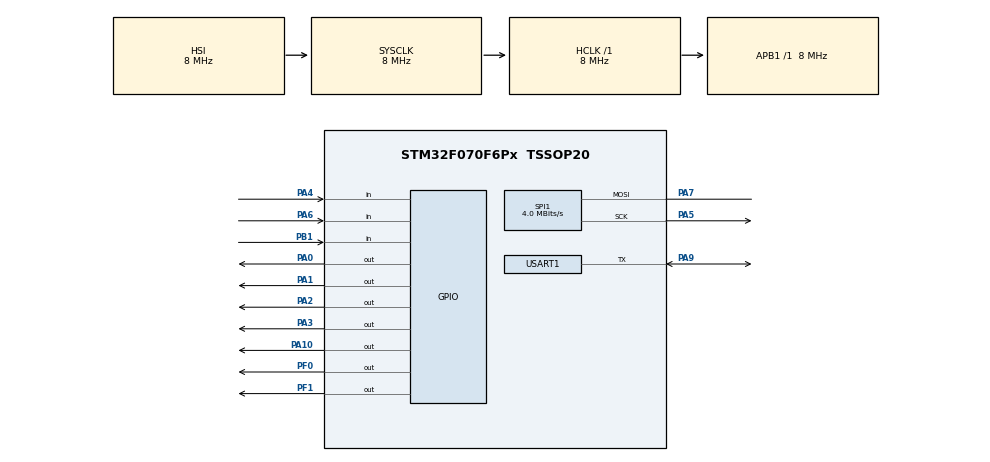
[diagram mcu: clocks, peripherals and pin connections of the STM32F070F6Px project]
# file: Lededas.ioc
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Mcu.Family=STM32F0
Mcu.Name=STM32F070F6Px
Mcu.Package=TSSOP20
PA0.Signal=GPIO_Output
PA1.Signal=GPIO_Output
PA10.Signal=GPIO_Output
PA13.Mode=Serial_Wire
PA13.Signal=SYS_SWDIO
PA14.Mode=Serial_Wire
PA14.Signal=SYS_SWCLK
PA2.Signal=GPIO_Output
PA3.Signal=GPIO_Output
PA4.GPIO_PuPd=GPIO_PULLDOWN
PA4.Signal=GPIO_Input
PA5.Mode=Simplex_Bidirectional_Master
PA5.Signal=SPI1_SCK
PA6.GPIO_PuPd=GPIO_PULLDOWN
PA6.Signal=GPIO_Input
PA7.Mode=Simplex_Bidirectional_Master
PA7.Signal=SPI1_MOSI
PA9.Mode=Half_duplex(single_wire_mode)
PA9.Signal=USART1_TX
PB1.GPIO_PuPd=GPIO_PULLDOWN
PB1.Signal=GPIO_Input
PF0-OSC_IN.Signal=GPIO_Output
PF1-OSC_OUT.Signal=GPIO_Output
ProjectManager.HeapSize=0x200
ProjectManager.StackSize=0x400
ProjectManager.TargetToolchain=STM32CubeIDE
RCC.AHBFreq_Value=8000000
RCC.APB1Freq_Value=8000000
RCC.APB1TimFreq_Value=8000000
RCC.HCLKFreq_Value=8000000
RCC.SYSCLKFreq_VALUE=8000000
SPI1.CLKPhase=SPI_PHASE_2EDGE
SPI1.CLKPolarity=SPI_POLARITY_HIGH
SPI1.CalculateBaudRate=4.0 MBits/s
SPI1.DataSize=SPI_DATASIZE_8BIT
SPI1.Direction=SPI_DIRECTION_1LINE
SPI1.Mode=SPI_MODE_MASTER
SPI1.VirtualType=VM_MASTER
USART1.BaudRate=9600
USART1.VirtualMode=VM_ASYNC
board=custom

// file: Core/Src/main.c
/* USER CODE BEGIN Header */
/**
  ******************************************************************************
  * @file           : main.c
  * @brief          : Main program body
  ******************************************************************************
  * @attention
  *
  * Copyright (c) 2022 STMicroelectronics.
  * All rights reserved.
  *
  * This software is licensed under terms that can be found in the LICENSE file
  * in the root directory of this software component.
  * If no LICENSE file comes with this software, it is provided AS-IS.
  *
  ******************************************************************************
  */
/* USER CODE END Header */
#include "main.h"

/* USER CODE BEGIN Includes */

	#include "OledGrph.h"
	#include "OledDriver.h"
	#include "stdlib.h"
	#include "math.h"

/* USER CODE END Includes */

SPI_HandleTypeDef hspi1;

UART_HandleTypeDef huart1;

void SystemClock_Config(void);
static void MX_GPIO_Init(void);
static void MX_SPI1_Init(void);
static void MX_USART1_UART_Init(void);

/* USER CODE BEGIN 0 */

#include <stdio.h>
#include <math.h>
#include <string.h>

// Função para apagar o último caractere de uma string
void apagar(char *str){
    int tam = strlen(str);
    str[tam-1] = '\0';
}

// Função que corrige floats em que há 0s entre o ponto e o primeiro dígito diferente de 0
void corretor(char *str, int len, int dig){

    char correto[16];
    strcpy(correto, str);
    correto[dig+1] = '\0';
    char aux[16];
    int numero = len-dig-1;

    for(int i = 0; i < numero; i++){
        aux[i] = str[dig+1+i];
    }
    aux[numero]= '\0';

    int zeros = 5 - strlen(aux);
    for(int i = 0; i < zeros; i++)
        correto[dig+1+i] = '0';

    correto[dig+1+zeros] = '\0';
    strcat(correto, aux);
    strcpy(str, correto);
}

// Função para descobrir a quantidade de dígitos presentes em um número inteiro
int contDigitos(int num){
	int digitos = 1;
	while(num/10 != 0){
		num /= 10;
		digitos++;
	}

	return digitos;
}

// Função que formata uma string para números negativos
void negative(char *str, int len){
    int i = 0;
    char strcp[16];
    strcp[0] = '-';

    for(int i = 0; i < len+1; i++){
        strcp[i+1] = str[i];
    }
    strcpy(str, strcp);
}

// Função que reverte uma string (a faz de trás para frente)
void reverse(char *str, int len)
{
	int i=0, j=len-1, temp;
	while (i<j)
	{
    	temp = str[i];
    	str[i] = str[j];
    	str[j] = temp;
    	i++; j--;
	}
}

 // Converts a given integer x to string str[].  d is the number
 // of digits required in output. If d is more than the number
 // of digits in x, then 0s are added at the beginning.

// Função que converte inteiro em string
int intToStr(int x, char str[], int d)
{
	int i = 0;
	while (x)
	{
		str[i++] = (x%10) + '0';
    	x = x/10;
	}

	reverse(str, i);
	str[i] = '\0';
	//corretor(str, strlen(str));
	return i;
}

double n1;
int dig;

// Função que converte float em string
void ftoa(double n, char *res)
{
	if(n < 0)
		n1 = n*(-1.0);
	else
		n1 = n;
	// Extract integer part
	int ipart = (int)n1;

	// Extract floating part
	double fpart = n1 - (double)ipart;

	// convert integer part to string
	int i = intToStr(ipart, res,0);

	// check for display option after point
	//if (afterpoint != 0)
	//{
	if(ipart != 0){
		if(fpart != 0)
			res[i] = '.';

		fpart = fpart * 100000.0;
		dig = contDigitos(ipart);

		intToStr((int)fpart, res + i + 1, 2);
		if((int)fpart < 10000 && (int)fpart != 0)
			corretor(res, strlen(res), dig);

        if(n < 0)
            negative(res, dig+6);
	} else{
		res[0] = '0';

		if(fpart != 0){
			res[1] = '.';
			i++;
		}

		fpart = fpart * 100000.0 ;
		dig = contDigitos(ipart);

		intToStr((int)fpart, res + i + 1, 2);
		if((int)fpart < 10000 && (int)fpart != 0)
			corretor(res, strlen(res), dig);

        if(n < 0)
            negative(res, dig+6);
	}
	//}

}

/* IN�?CIO Operações da calculadora
 * -Adição-
 * -Subtração-
 * -Multiplicação-
 * -Divisão-
 * -Potenciação-
 * -Radiciação-
 * -Fatorial-
 * -Logaritmo-
 * -Exponencial-
 * */

double soma(double a, double b){
	double res = a + b;
	return res;
}

double sub(double a, double b){
	double res = a - b;
	return res;
}

double mult(double a, double b){
	double res = a * b;
	return res;
}

double divi(double a, double b){
	float res = a / b;
	return res;
}

double pot(double a, double b){
	double res = pow(a,b);
	return res;
}

double raiz(double a, double b){
	float res = pow(a,1/b);
	return res;
}

int fat(int a){
	if(a == 0)
		return 1;
	else{
		return a*fat(a-1);
	}
}

double logarit(double a){
	float res = log(a);
	return res;
}

double expon(double a){
	float res = exp(a);
	return res;
}

/*
 * FIM Operações da calculadora
 * */

// Função responsável por concatenar os valores inteiros digitados no teclado matricial
int conc(int vet[], int k){
	double res = 0;
	int i = 0;
	while(k!=0){
		res += vet[i]*pow(10,k-1);
		k--;
		i++;
	}
	return res;
}

/* USER CODE END 0 */

int main(void)
{
  /* USER CODE BEGIN 1 */

	  char pressionado = 'a';	// Char que armazena o caractere digitado no teclado matricial
	  char pressOp;				// Char que armazena o caractere operador
	  int vet[16];				// Vetor de inteiros que armazena os valores das teclas digitadas no teclado matricial
	  int k = 0;				// Variável de controle na conversão de vetor de inteiro para vetor de char
	  char txt[16];				// String (vetor de char) que aparece no Oled
	  char linha[4] = "\r\n"; 	// String auxiliar para formatar no computador
	  char *txt2 = &txt;		// Ponteiro que aponta para o endereço da string que aparece no oled
	  char operUart[30];		// String para o histórico (aparece na UART)
	  char valUart[16];			// String para auxiliar operUart, gravando o valor2
	  double valor = 0;			// Primeiro valor digitado (antes da escolha da operação)
	  double valor2 = 0;		// Segundo valor digitado (depois da escolha da operação)
	  int operacao;				// Variável para definir a operação no switch case
	  double op;				// variável que armazena o resultado da operação entre os valores 1 e 2
	  int animacao=0;			// Variável relacionada a aniamações de iniciar, reiniciar e desligar
	  int cont1 = 0; 			// Tirar o 0 padrão de inicialização
	  int cont; 				// Separa as etapas: colocar número ou colocar operação
	  int format=0; 			// Impedir que se coloque um segundo valor após as operações ! log e

  /* USER CODE END 1 */

  /* MCU Configuration--------------------------------------------------------*/

  /* Reset of all peripherals, Initializes the Flash interface and the Systick. */
  HAL_Init();

  /* Configure the system clock */
  SystemClock_Config();

  /* Initialize all configured peripherals */
  MX_GPIO_Init();
  MX_SPI1_Init();
  MX_USART1_UART_Init();
  /* USER CODE BEGIN 2 */

  OledInit(); // Inicializa o oLed
  OledClear(); //- Apaga todos os dados  do oLed
  OledSetCursor(0,0); //Coloca o cursor na posição desejada da tela. Cada caractere ocupa uma coluna.
  //HAL_UART_Transmit(&huart1, "Historico\r", 10, 100);
  //OledPutString("comp"); //Escreve uma string na tela.
  //OledPutChar('?'); //Escreve um char na tela.

  /* USER CODE END 2 */

  /* Infinite loop */
  /* USER CODE BEGIN WHILE */

  while (1)
  {
  	OledPutChar('0');
    cont=0;
	  while(cont < 100){
		  inicio:

		  // Quando cont for par, o usuário entra com os dígitos do número desejado.
		  if(cont%2==0){
			  for (int i = 0; i < 4; i++) {

				  	  	  	  // Linhas do teclado matricial - Inicialmente, todas resetadas
			  		          HAL_GPIO_WritePin(GPIOF, GPIO_PIN_0, GPIO_PIN_RESET);
			  		          HAL_GPIO_WritePin(GPIOF, GPIO_PIN_1, GPIO_PIN_RESET);
			  		          HAL_GPIO_WritePin(GPIOA, GPIO_PIN_10, GPIO_PIN_RESET);
			  		          HAL_GPIO_WritePin(GPIOA, GPIO_PIN_3, GPIO_PIN_RESET);

			  		          // Aqui, fica setando em 1 cada uma das 4 linhas, enquanto as outras 3 permanecem resetadas
			  		          // Lembrar que o while acontece extremamente rápido!
			  		          if (i == 0) {
			  		            HAL_GPIO_WritePin(GPIOF, GPIO_PIN_0, GPIO_PIN_SET);
			  		          } else if (i == 1) {
			  		            HAL_GPIO_WritePin(GPIOF, GPIO_PIN_1, GPIO_PIN_SET);
			  		          } else if (i == 2) {
			  		            HAL_GPIO_WritePin(GPIOA, GPIO_PIN_10, GPIO_PIN_SET);
			  		          } else if (i == 3) {
			  		            HAL_GPIO_WritePin(GPIOA, GPIO_PIN_3, GPIO_PIN_SET);
			  		          }

			  		          /*
			  		           * Essa parte do código reconhece quando uma tecla é pressionada,
			  		           * pois o curto fará com que o pino da porta da coluna seja setado
			  		           * em 1. Lembrar que o pull-down faz esse pino ser 0 quando não pressionado.
			  		           * Os comandos que ocorrem quando uma tecla é pressionada também estão aqui*/
			  		          if (HAL_GPIO_ReadPin(GPIOA, GPIO_PIN_4) == 1) {

			  		            if (i == 0) {
			  		              if(cont1 == 0 && cont != 2){
			  		            	  OledClear();
			  		            	  OledSetCursor(0,0);
			  		            	  cont1++;
			  		              }
			  		              pressionado = '1';
			  		              HAL_Delay(350);
			  		              if(format != 1){
			  		            	  OledPutChar(pressionado);
			  		            	  vet[k]=1;
			  		            	  k++;
			  		              }
			  		            } else if (i == 1) {
				  		          if(cont1 == 0 && cont != 2){
				  		        	  OledClear();
				  		           	  OledSetCursor(0,0);
				  		           	  cont1++;
				  		          }
			  		              pressionado = '4';
			  		              HAL_Delay(350);
			  		              if(format != 1){
			  		            	  OledPutChar(pressionado);
			  		            	  vet[k]=4;
			  		            	  k++;
			  		              }
			  		            } else if (i == 2) {
				  		          if(cont1 == 0 && cont != 2){
				  		              OledClear();
				  		              OledSetCursor(0,0);
				  		              cont1++;
				  		          }
			  		              pressionado = '7';
			  		              HAL_Delay(350);
			  		              if(format != 1){
			  		            	OledPutChar(pressionado);
			  		              	  vet[k]=7;
			  		              	  k++;
			  		              }
			  		            } else if (i == 3) { //* para igualdade ( = )
			  		              HAL_Delay(350);
			  		              if(cont == 2){
									  OledClear();
									  OledSetCursor(0,0);
									  format = 0;
									  valor2 = conc(vet, k);
									  intToStr(valor2, valUart, k);
									  switch(operacao){
										  case 1:
											  op = soma(valor, valor2);
											  break;
										  case 2:
											  op = sub(valor, valor2);
											  break;
										  case 3:
											  op = mult(valor, valor2);
											  break;
										  case 4:
											  if(valor2 == 0){
												  OledPutString("Error");
												  HAL_Delay(3000);
												  OledClear();
												  OledSetCursor(0,0);
												  cont1 = 0;
												  OledPutChar('0');
												  cont = 0;
												  goto inicio;
											  }

											  op = divi(valor, valor2);
											  break;
										  case 5:
											  op = pot(valor, valor2);
											  break;
										  case 6:
											  if(valor < 0){
												  OledPutString("Error");
												  HAL_Delay(3000);
												  OledClear();
												  OledSetCursor(0,0);
												  cont1 = 0;
												  OledPutChar('0');
												  cont = 0;
												  goto inicio;
											  }

											  op = raiz(valor, valor2);
											  break;
										  case 7:
											  if(valor < 0){
												  OledPutString("Error");
												  HAL_Delay(3000);
												  OledClear();
												  OledSetCursor(0,0);
												  cont1 = 0;
												  OledPutChar('0');
												  cont = 0;
												  goto inicio;
											  }
											  if(valor != (int)valor){
												  OledPutString("Indefinido");
												  HAL_Delay(3000);
												  OledClear();
												  OledSetCursor(0,0);
												  cont1 = 0;
												  OledPutChar('0');
												  cont = 0;
												  goto inicio;
											  }
											  op = fat(valor);
											  break;
										  case 8:
											  if(valor <= 0){
												  OledPutString("Error");
												  HAL_Delay(3000);
												  OledClear();
												  OledSetCursor(0,0);
												  cont1 = 0;
												  OledPutChar('0');
												  cont = 0;
												  goto inicio;
											  }
											  op = logarit(valor);
											  break;
										  case 9:
											  op = expon(valor);
											  break;
									  }
									  ftoa(op, txt2);
									  OledPutString(txt);
									  cont = 1;
									  // INICIO - Formatação para o histórico
									  k = strlen(operUart); // reaproveitamento da variável k
									  operUart[k] = pressOp;
									  operUart[k+1] = '\0';
									  strcat(operUart, valUart);
									  k = strlen(operUart); // reaproveitamento da variável k
									  operUart[k] = '=';
									  operUart[k+1] = '\0';
									  k = 0;
									  strcat(operUart, txt);
									  HAL_UART_Transmit(&huart1, strcat(operUart, linha), strlen(strcat(operUart, linha)), 100);
									  valor = op;
									  ftoa(valor, operUart);
									  // FIM - Formatação para o histórico
									  goto inicio;
			  		              } else{
			  		            	  // * Código para apagar o último caractere
			  		            	  OledClear();
			  		            	  OledSetCursor(0,0);
			  		            	  if(k==0){
			  		            		  OledPutChar('0');
			  		            		  cont1 = 0;
			  		            	  }
			  		            	  else{
				  		            	  valor = conc(vet, k);
				  		            	  k--;
				  		            	  if(k==0){
				  		            		  OledPutChar('0');
				  		            		  cont1 = 0;
				  		            	  }
				  		            	  ftoa(valor, txt2);
				  		            	  apagar(txt2);
				  		            	  OledPutString(txt2);
			  		            	  }
			  		              }
			  		            }
			  		          }else if (HAL_GPIO_ReadPin(GPIOB, GPIO_PIN_1) == 1) {
			  		            if (i == 0) {
					  		      if(cont1 == 0 && cont != 2){
					  		          OledClear();
					  	              OledSetCursor(0,0);
					  	              cont1++;
					  	          }
			  		              pressionado = '2';
			  		              HAL_Delay(350);
			  		              if(format != 1){
			  		            	  OledPutChar(pressionado);
			  		              	  vet[k]=2;
			  		              	  k++;
			  		              }
			  		            } else if (i == 1) {
					  		      if(cont1 == 0 && cont != 2){
					  		          OledClear();
					  	              OledSetCursor(0,0);
					  	              cont1++;
					              }
			  		              pressionado = '5';
			  		              HAL_Delay(350);
			  		              if(format != 1){
			  		            	  OledPutChar(pressionado);
			  		              	  vet[k]=5;
			  		              	  k++;
			  		              }
			  		            } else if (i == 2) {
					  		      if(cont1 == 0 && cont != 2){
					  		          OledClear();
					  	              OledSetCursor(0,0);
					  	              cont1++;
					  	          }
			  		              pressionado = '8';
			  		              HAL_Delay(350);
			  		              if(format != 1){
			  		            	  OledPutChar(pressionado);
			  		              	  vet[k]=8;
			  		              	  k++;
			  		              }
			  		            } else if (i == 3) {
			  		              pressionado = '0';
			  		              HAL_Delay(350);
			  		              if(k != 0 || cont == 2){
									  if(format != 1){
										  OledPutChar(pressionado);
									  	  vet[k]=0;
									  	  k++;
									  }
			  		              }
			  		            }

			  		          }else if (HAL_GPIO_ReadPin(GPIOA, GPIO_PIN_6) == 1) {
			  		            if (i == 0) {
					  		      if(cont1 == 0 && cont != 2){
					  		          OledClear();
					  	              OledSetCursor(0,0);
					  	              cont1++;
					              }
			  		              pressionado = '3';
			  		              HAL_Delay(350);
			  		              if(format != 1){
			  		            	  OledPutChar(pressionado);
			  		              	  vet[k]=3;
			  		              	  k++;
			  		              }
			  		            } else if (i == 1) {
					  		      if(cont1 == 0 && cont != 2){
					  		          OledClear();
					  	              OledSetCursor(0,0);
					  	              cont1++;
					              }
			  		              pressionado = '6';
			  		              HAL_Delay(350);
			  		              if(format != 1){
			  		            	  OledPutChar(pressionado);
			  		              	  vet[k]=6;
			  		              	  k++;
			  		              }
			  		            } else if (i == 2) {
					  		      if(cont1 == 0 && cont != 2){
					  		          OledClear();
					  	              OledSetCursor(0,0);
					  	              cont1++;
					  	          }
			  		              pressionado = '9';
			  		              HAL_Delay(350);
			  		              if(format != 1){
			  		            	  OledPutChar(pressionado);
			  		              	  vet[k]=9;
			  		              	  k++;
			  		              }
			  		            } else if (i == 3) {	// #
			  		              HAL_Delay(350);
			  		              // Escolher operador
			  		              if(cont == 0){
				  		              valor = conc(vet, k);
					  		          intToStr(valor, operUart, k);
				  		              k = 0;
				  		              cont++;
			  		              }
			  		              // Apagar último caractere
			  		              else{
			  		            	  OledClear();
			  		            	  OledSetCursor(0,0);
			  		            	  ftoa(valor, txt2);
			  		            	  OledPutString(txt);
			  		            	  OledPutChar(pressOp);
			  		            	  if(k!=0){
										  valor2 = conc(vet, k);
										  k--;
										  ftoa(valor2, txt2);
										  apagar(txt2);
										  OledPutString(txt2);
			  		            	  }
			  		              }
			  		            }
			  		          }

			  		        }
		  }
		  // ABA OPERAÇÕES - Quando cont for ímpar, significa que o usuário escolhe a operação.
		  else if(cont%2!=0){
			  for (int i = 0; i < 4; i++) {

			  			  		          HAL_GPIO_WritePin(GPIOF, GPIO_PIN_0, GPIO_PIN_RESET);
			  			  		          HAL_GPIO_WritePin(GPIOF, GPIO_PIN_1, GPIO_PIN_RESET);
			  			  		          HAL_GPIO_WritePin(GPIOA, GPIO_PIN_10, GPIO_PIN_RESET);
			  			  		          HAL_GPIO_WritePin(GPIOA, GPIO_PIN_3, GPIO_PIN_RESET);

			  			  		          if (i == 0) {
			  			  		            HAL_GPIO_WritePin(GPIOF, GPIO_PIN_0, GPIO_PIN_SET);
			  			  		          } else if (i == 1) {
			  			  		            HAL_GPIO_WritePin(GPIOF, GPIO_PIN_1, GPIO_PIN_SET);
			  			  		          } else if (i == 2) {
			  			  		            HAL_GPIO_WritePin(GPIOA, GPIO_PIN_10, GPIO_PIN_SET);
			  			  		          } else if (i == 3) {
			  			  		            HAL_GPIO_WritePin(GPIOA, GPIO_PIN_3, GPIO_PIN_SET);
			  			  		          }

			  			  		          if (HAL_GPIO_ReadPin(GPIOA, GPIO_PIN_4) == 1) {

			  			  		            if (i == 0) {
			  			  		              pressOp = '+';
			  			  		              HAL_Delay(350);
			  			  		              OledPutChar(pressOp);
			  			  		              operacao = 1;
			  			  		              cont++;
			  			  		            } else if (i == 1) {
			  			  		              pressOp = '/';
			  			  		              HAL_Delay(350);
			  			  		              OledPutChar(pressOp);
			  			  		              operacao = 4;
			  			  		              cont++;
			  			  		            } else if (i == 2) {
			  			  		              pressOp = '!';
			  			  		              format = 1;
			  			  		              HAL_Delay(350);
			  			  		              OledPutChar(pressOp);
			  			  		              operacao = 7;
			  			  		              cont++;
			  			  		            } else if (i == 3) {	// *
			  			  		            	//Não faz nada
			  			  		            }
			  			  		          }else if (HAL_GPIO_ReadPin(GPIOB, GPIO_PIN_1) == 1) {
			  			  		            if (i == 0) {
			  			  		              pressOp = '-';
			  			  		              HAL_Delay(350);
			  			  		              OledPutChar(pressOp);
			  			  		              operacao = 2;
			  			  		              cont++;
			  			  		            } else if (i == 1) {
			  			  		              pressOp = '^';
			  			  		              HAL_Delay(350);
			  			  		              OledPutChar(pressOp);
			  			  		              operacao = 5;
			  			  		              cont++;
			  			  		            } else if (i == 2) {
			  			  		              pressOp = 'L';
			  			  		              format = 1;
			  			  		              //OledPutString("ln");
			  			  		              HAL_Delay(350);
			  			  		              OledPutChar(pressOp);
			  			  		              operacao = 8;
			  			  		              cont++;
			  			  		            } else if (i == 3) {
			  			  		              //0 de reiniciar
			  			  		              HAL_Delay(350);
			  			  		              OledClear();
			  			  		              OledSetCursor(0,0);
			  			  		              OledPutChar('0');
			  			  		              cont1 = 0;
			  			  		              cont++;
			  			  		              cont = 0;
			  			  		              goto inicio;
			  			  		            }

			  			  		          }else if (HAL_GPIO_ReadPin(GPIOA, GPIO_PIN_6) == 1) {
			  			  		            if (i == 0) {
			  			  		              pressOp = '*';
			  			  		              HAL_Delay(350);
			  			  		              operacao = 3;
			  			  		              OledPutChar(pressOp);
			  			  		              cont++;
			  			  		            } else if (i == 1) {
			  			  		              pressOp = 'v';
			  			  		              HAL_Delay(350);
			  			  		              operacao = 6;
			  			  		              OledPutChar(pressOp);
			  			  		              cont++;
			  			  		            } else if (i == 2) {
			  			  		              pressOp = 'e';
			  			  		              format = 1;
			  			  		              HAL_Delay(350);
			  			  		              operacao = 9;
			  			  		              OledPutChar(pressOp);
			  			  		              cont++;
			  			  		            }
			  			  		          }
			  			  		        }
		  }

	  }
    /* USER CODE END WHILE */

  }
}

void SystemClock_Config(void)
{
  RCC_OscInitTypeDef RCC_OscInitStruct = {0};
  RCC_ClkInitTypeDef RCC_ClkInitStruct = {0};
  RCC_PeriphCLKInitTypeDef PeriphClkInit = {0};

  /** Initializes the RCC Oscillators according to the specified parameters
  * in the RCC_OscInitTypeDef structure.
  */
  RCC_OscInitStruct.OscillatorType = RCC_OSCILLATORTYPE_HSI;
  RCC_OscInitStruct.HSIState = RCC_HSI_ON;
  RCC_OscInitStruct.HSICalibrationValue = RCC_HSICALIBRATION_DEFAULT;
  RCC_OscInitStruct.PLL.PLLState = RCC_PLL_NONE;
  if (HAL_RCC_OscConfig(&RCC_OscInitStruct) != HAL_OK)
  {
    Error_Handler();
  }

  /** Initializes the CPU, AHB and APB buses clocks
  */
  RCC_ClkInitStruct.ClockType = RCC_CLOCKTYPE_HCLK|RCC_CLOCKTYPE_SYSCLK
                              |RCC_CLOCKTYPE_PCLK1;
  RCC_ClkInitStruct.SYSCLKSource = RCC_SYSCLKSOURCE_HSI;
  RCC_ClkInitStruct.AHBCLKDivider = RCC_SYSCLK_DIV1;
  RCC_ClkInitStruct.APB1CLKDivider = RCC_HCLK_DIV1;

  if (HAL_RCC_ClockConfig(&RCC_ClkInitStruct, FLASH_LATENCY_0) != HAL_OK)
  {
    Error_Handler();
  }
  PeriphClkInit.PeriphClockSelection = RCC_PERIPHCLK_USART1;
  PeriphClkInit.Usart1ClockSelection = RCC_USART1CLKSOURCE_PCLK1;
  if (HAL_RCCEx_PeriphCLKConfig(&PeriphClkInit) != HAL_OK)
  {
    Error_Handler();
  }
}

static void MX_SPI1_Init(void)
{

  /* SPI1 parameter configuration*/
  hspi1.Instance = SPI1;
  hspi1.Init.Mode = SPI_MODE_MASTER;
  hspi1.Init.Direction = SPI_DIRECTION_1LINE;
  hspi1.Init.DataSize = SPI_DATASIZE_8BIT;
  hspi1.Init.CLKPolarity = SPI_POLARITY_HIGH;
  hspi1.Init.CLKPhase = SPI_PHASE_2EDGE;
  hspi1.Init.NSS = SPI_NSS_SOFT;
  hspi1.Init.BaudRatePrescaler = SPI_BAUDRATEPRESCALER_2;
  hspi1.Init.FirstBit = SPI_FIRSTBIT_MSB;
  hspi1.Init.TIMode = SPI_TIMODE_DISABLE;
  hspi1.Init.CRCCalculation = SPI_CRCCALCULATION_DISABLE;
  hspi1.Init.CRCPolynomial = 7;
  hspi1.Init.CRCLength = SPI_CRC_LENGTH_DATASIZE;
  hspi1.Init.NSSPMode = SPI_NSS_PULSE_DISABLE;
  if (HAL_SPI_Init(&hspi1) != HAL_OK)
  {
    Error_Handler();
  }

}

static void MX_USART1_UART_Init(void)
{

  huart1.Instance = USART1;
  huart1.Init.BaudRate = 9600;
  huart1.Init.WordLength = UART_WORDLENGTH_8B;
  huart1.Init.StopBits = UART_STOPBITS_1;
  huart1.Init.Parity = UART_PARITY_NONE;
  huart1.Init.Mode = UART_MODE_TX_RX;
  huart1.Init.HwFlowCtl = UART_HWCONTROL_NONE;
  huart1.Init.OverSampling = UART_OVERSAMPLING_16;
  huart1.Init.OneBitSampling = UART_ONE_BIT_SAMPLE_DISABLE;
  huart1.AdvancedInit.AdvFeatureInit = UART_ADVFEATURE_NO_INIT;
  if (HAL_HalfDuplex_Init(&huart1) != HAL_OK)
  {
    Error_Handler();
  }

}

static void MX_GPIO_Init(void)
{
  GPIO_InitTypeDef GPIO_InitStruct = {0};

  /* GPIO Ports Clock Enable */
  __HAL_RCC_GPIOF_CLK_ENABLE();
  __HAL_RCC_GPIOA_CLK_ENABLE();
  __HAL_RCC_GPIOB_CLK_ENABLE();

  /*Configure GPIO pin Output Level */
  HAL_GPIO_WritePin(GPIOF, GPIO_PIN_0|GPIO_PIN_1, GPIO_PIN_RESET);

  /*Configure GPIO pin Output Level */
  HAL_GPIO_WritePin(GPIOA, GPIO_PIN_0|GPIO_PIN_1|GPIO_PIN_2|GPIO_PIN_3
                          |GPIO_PIN_10, GPIO_PIN_RESET);

  /*Configure GPIO pins : PF0 PF1 */
  GPIO_InitStruct.Pin = GPIO_PIN_0|GPIO_PIN_1;
  GPIO_InitStruct.Mode = GPIO_MODE_OUTPUT_PP;
  GPIO_InitStruct.Pull = GPIO_NOPULL;
  GPIO_InitStruct.Speed = GPIO_SPEED_FREQ_LOW;
  HAL_GPIO_Init(GPIOF, &GPIO_InitStruct);

  /*Configure GPIO pins : PA0 PA1 PA2 PA3
                           PA10 */
  GPIO_InitStruct.Pin = GPIO_PIN_0|GPIO_PIN_1|GPIO_PIN_2|GPIO_PIN_3
                          |GPIO_PIN_10;
  GPIO_InitStruct.Mode = GPIO_MODE_OUTPUT_PP;
  GPIO_InitStruct.Pull = GPIO_NOPULL;
  GPIO_InitStruct.Speed = GPIO_SPEED_FREQ_LOW;
  HAL_GPIO_Init(GPIOA, &GPIO_InitStruct);

  /*Configure GPIO pins : PA4 PA6 */
  GPIO_InitStruct.Pin = GPIO_PIN_4|GPIO_PIN_6;
  GPIO_InitStruct.Mode = GPIO_MODE_INPUT;
  GPIO_InitStruct.Pull = GPIO_PULLDOWN;
  HAL_GPIO_Init(GPIOA, &GPIO_InitStruct);

  /*Configure GPIO pin : PB1 */
  GPIO_InitStruct.Pin = GPIO_PIN_1;
  GPIO_InitStruct.Mode = GPIO_MODE_INPUT;
  GPIO_InitStruct.Pull = GPIO_PULLDOWN;
  HAL_GPIO_Init(GPIOB, &GPIO_InitStruct);

}

void Error_Handler(void)
{
  __disable_irq();
  while (1)
  {
  }
}
